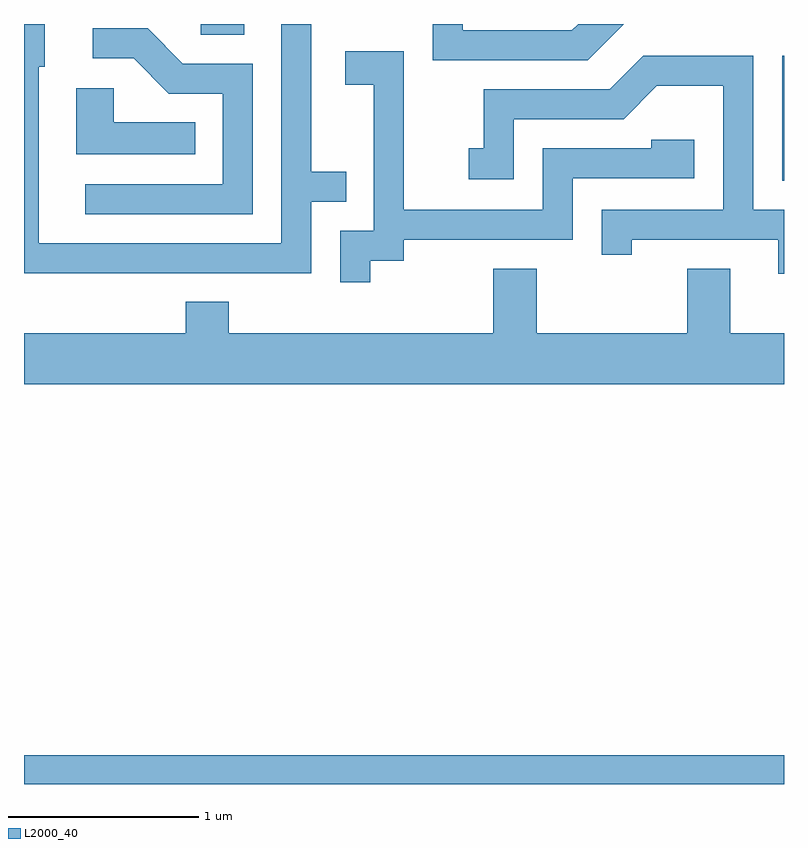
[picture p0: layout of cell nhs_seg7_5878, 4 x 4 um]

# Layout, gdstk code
import gdstk
lib = gdstk.Library(unit=1e-6, precision=1e-09)
def R(c, l, rs):  # rectangles x0, y0, x1, y1
    for r in rs: c.add(gdstk.rectangle(r[:2], r[2:], *l))
def P(c, l, *ps):  # polygons
    for p in ps: c.add(gdstk.Polygon(p, *l))
L2000_40 = (2000, 40)

nhs_seg7_5878 = lib.new_cell('nhs_seg7_5878')
R(nhs_seg7_5878, L2000_40, [(365.611,1672.252,369.611,1672.404), (369.601,1675.426,369.611,1676.084), (366.541,1676.196,366.769,1676.252)])
P(nhs_seg7_5878, L2000_40, [(368.768,1676.252),(368.527,1676.252),(368.494,1676.219),(367.919,1676.219),(367.919,1676.252),(367.761,1676.252),(367.761,1676.061),(368.577,1676.061)],
  [(367.124,1675.316),(367.308,1675.316),(367.308,1675.474),(367.124,1675.474),(367.124,1676.252),(366.966,1676.252),(366.966,1675.099),(365.689,1675.099),(365.689,1676.026),(365.719,1676.026),(365.719,1676.252),(365.611,1676.252),(365.611,1674.941),(367.124,1674.941)],
  [(366.814,1676.044),(366.447,1676.044),(366.262,1676.229),(365.973,1676.229),(365.973,1676.071),(366.189,1676.071),(366.374,1675.886),(366.656,1675.886),(366.656,1675.409),(365.933,1675.409),(365.933,1675.251),(366.814,1675.251)],
  [(367.434,1675.006),(367.609,1675.006),(367.609,1675.116),(368.499,1675.116),(368.499,1675.441),(369.139,1675.441),(369.139,1675.644),(368.911,1675.644),(368.911,1675.599),(368.341,1675.599),(368.341,1675.274),(367.609,1675.274),(367.609,1676.109),(367.301,1676.109),(367.301,1675.931),(367.451,1675.931),(367.451,1675.164),(367.276,1675.164),(367.276,1674.893),(367.434,1674.893)],
  [(369.611,1675.274),(369.449,1675.274),(369.449,1676.084),(368.869,1676.084),(368.694,1675.909),(368.031,1675.909),(368.031,1675.599),(367.953,1675.599),(367.953,1675.436),(368.189,1675.436),(368.189,1675.751),(368.767,1675.751),(368.942,1675.926),(369.291,1675.926),(369.291,1675.274),(368.651,1675.274),(368.651,1675.038),(368.809,1675.038),(368.809,1675.116),(369.581,1675.116),(369.581,1674.938),(369.611,1674.938)],
  [(366.513,1675.734),(366.084,1675.734),(366.084,1675.914),(365.886,1675.914),(365.886,1675.566),(366.513,1675.566)],
  [(369.611,1674.624),(369.329,1674.624),(369.329,1674.964),(369.101,1674.964),(369.101,1674.624),(368.309,1674.624),(368.309,1674.964),(368.081,1674.964),(368.081,1674.624),(366.689,1674.624),(366.689,1674.789),(366.461,1674.789),(366.461,1674.624),(365.611,1674.624),(365.611,1674.356),(369.611,1674.356)])

lib.write_gds('nhs_seg7_5878.gds')
